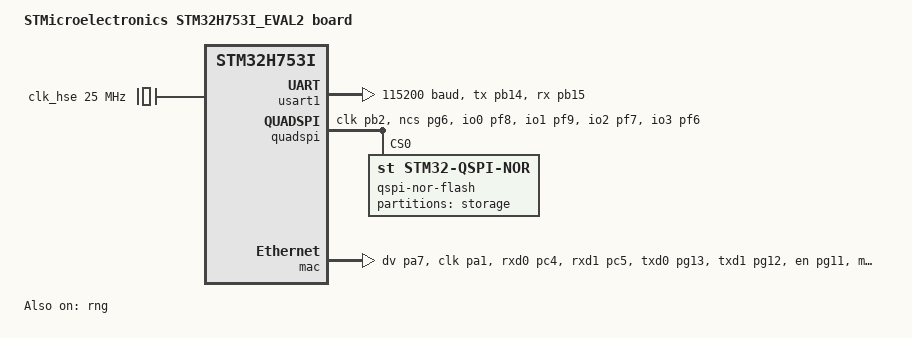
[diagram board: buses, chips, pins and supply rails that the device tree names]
/*
 * Copyright (c) 2021 Blue Clover Devices
 *
 * SPDX-License-Identifier: Apache-2.0
 */

/dts-v1/;
#include <st/h7/stm32h753Xi.dtsi>
#include <st/h7/stm32h753zitx-pinctrl.dtsi>

/ {
	model = "STMicroelectronics STM32H753I_EVAL2 board";
	compatible = "st,stm32h753i-eval2";

	chosen {
		zephyr,console = &usart1;
		zephyr,shell-uart = &usart1;
		zephyr,sram = &sram0;
		zephyr,flash = &flash0;
		zephyr,dtcm = &dtcm;
		zephyr,code-partition = &slot0_partition;
	};
};

&clk_hse {
    clock-frequency = <DT_FREQ_M(25)>;
    status = "okay";
};

&pll {
    // pll source: 25 MHz
    div-m = <5>;
    mul-n = <192>;
    // pll internal: 960 MHz

    div-p = <2>;   // 480 MHz used for SYSCLK
    div-q = <40>;  // 24 MHz used for SDMMC and SPI
    div-r = <2>;   // unused

    clocks = <&clk_hse>;
    status = "okay";
};

&rcc {
    clocks = <&pll>;
    clock-frequency = <DT_FREQ_M(480)>;
    d1cpre = <1>;
    hpre = <2>;
    d1ppre = <2>;
    d2ppre1 = <2>;
    d2ppre2 = <2>;
    d3ppre = <2>;
};

// needed for RNG
&clk_hsi48 {
    status = "okay";
};

&rng {
    status = "okay";
};

&usart1 {
	pinctrl-0 = <&usart1_tx_pb14 &usart1_rx_pb15>;
	pinctrl-names = "default";
	current-speed = <115200>;
	status = "okay";
};

&flash0 {
    partitions {
        compatible = "fixed-partitions";
        #address-cells = <1>;
        #size-cells = <1>;

        slot0_partition: partition@00000 {
            label = "image-0";
            reg = <0x00000000 DT_SIZE_K(16*128)>;
        };
    };
};

&quadspi {
    pinctrl-0 = <&quadspi_clk_pb2 &quadspi_bk1_ncs_pg6
                 &quadspi_bk1_io0_pf8 &quadspi_bk1_io1_pf9
                 &quadspi_bk1_io2_pf7 &quadspi_bk1_io3_pf6>;
    pinctrl-names = "default";
    flash-id = <1>;
    status = "okay";

    qspi-nor-flash@0 {
        compatible = "st,stm32-qspi-nor";
        reg = <0>;
        qspi-max-frequency = <50000000>;
        size = <DT_SIZE_M(32*8)>;
        spi-bus-width = <4>;
        status = "okay";

        partitions {
            compatible = "fixed-partitions";
            #address-cells = <1>;
            #size-cells = <1>;

            storage: partition@000000 {
                label = "storage";
                reg = <0x00000000 DT_SIZE_M(1)>;
            };
        };
    };
};

eth: &mac {
    pinctrl-0 = <&eth_crs_dv_pa7
                 &eth_ref_clk_pa1
                 &eth_rxd0_pc4
                 &eth_rxd1_pc5
                 &eth_txd0_pg13
                 &eth_txd1_pg12
                 &eth_tx_en_pg11
                 &eth_mdc_pc1
                 &eth_mdio_pa2>;
    pinctrl-names = "default";
    status = "okay";
};
